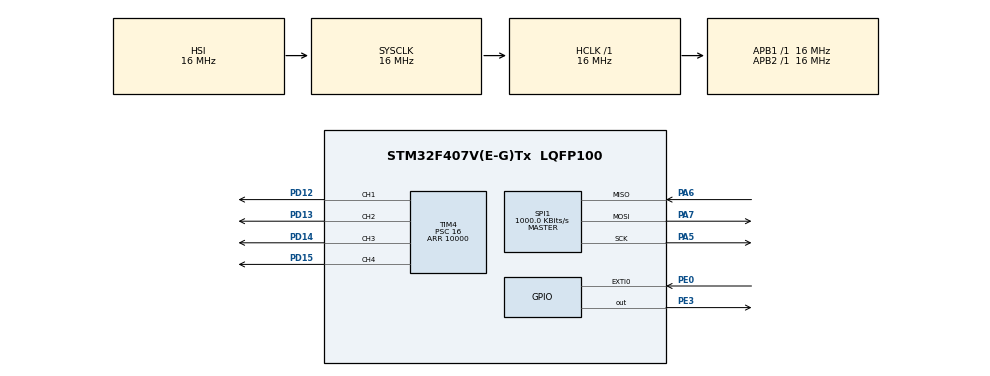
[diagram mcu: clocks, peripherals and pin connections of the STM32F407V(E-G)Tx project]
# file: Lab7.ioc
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Mcu.Family=STM32F4
Mcu.Name=STM32F407V(E-G)Tx
Mcu.Package=LQFP100
NVIC.EXTI0_IRQn=true\:0\:0\:false\:false\:true\:true\:true\:true
NVIC.PriorityGroup=NVIC_PRIORITYGROUP_4
PA5.Mode=Full_Duplex_Master
PA5.Signal=SPI1_SCK
PA6.Mode=Full_Duplex_Master
PA6.Signal=SPI1_MISO
PA7.Mode=Full_Duplex_Master
PA7.Signal=SPI1_MOSI
PD12.Signal=S_TIM4_CH1
PD13.Signal=S_TIM4_CH2
PD14.Signal=S_TIM4_CH3
PD15.Signal=S_TIM4_CH4
PE0.Signal=GPXTI0
PE3.Signal=GPIO_Output
ProjectManager.HeapSize=0x200
ProjectManager.StackSize=0x400
ProjectManager.TargetToolchain=STM32CubeIDE
RCC.AHBFreq_Value=16000000
RCC.APB1Freq_Value=16000000
RCC.APB2Freq_Value=16000000
RCC.CortexFreq_Value=16000000
RCC.HSE_VALUE=25000000
RCC.HSI_VALUE=16000000
RCC.LSE_VALUE=32768
RCC.SYSCLKFreq_VALUE=16000000
RCC.VCOOutputFreq_Value=192000000
SH.S_TIM4_CH1.0=TIM4_CH1,PWM Generation1 CH1
SH.S_TIM4_CH2.0=TIM4_CH2,PWM Generation2 CH2
SH.S_TIM4_CH3.0=TIM4_CH3,PWM Generation3 CH3
SH.S_TIM4_CH4.0=TIM4_CH4,PWM Generation4 CH4
SPI1.BaudRatePrescaler=SPI_BAUDRATEPRESCALER_16
SPI1.CalculateBaudRate=1000.0 KBits/s
SPI1.Direction=SPI_DIRECTION_2LINES
SPI1.Mode=SPI_MODE_MASTER
SPI1.VirtualType=VM_MASTER
TIM4.AutoReloadPreload=TIM_AUTORELOAD_PRELOAD_ENABLE
TIM4.Channel-PWM\ Generation1\ CH1=TIM_CHANNEL_1
TIM4.Channel-PWM\ Generation2\ CH2=TIM_CHANNEL_2
TIM4.Channel-PWM\ Generation3\ CH3=TIM_CHANNEL_3
TIM4.Channel-PWM\ Generation4\ CH4=TIM_CHANNEL_4
TIM4.Period=10000
TIM4.Prescaler=16
VP_TIM4_VS_ClockSourceINT.Mode=Internal
board=custom

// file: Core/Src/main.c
/* USER CODE BEGIN Header */
/**
  ******************************************************************************
  * @file           : main.c
  * @brief          : Main program body
  ******************************************************************************
  * @attention
  *
  * Copyright (c) 2023 STMicroelectronics.
  * All rights reserved.
  *
  * This software is licensed under terms that can be found in the LICENSE file
  * in the root directory of this software component.
  * If no LICENSE file comes with this software, it is provided AS-IS.
  *
  ******************************************************************************
  */
/* USER CODE END Header */
#include "main.h"

/* USER CODE BEGIN Includes */
#include <math.h>
#include <stdlib.h>
#include "MY_LIS3DSH.h"
/* USER CODE END Includes */

/* USER CODE BEGIN PD */
#define MAX_ACC ((float) 1000)
/* USER CODE END PD */

SPI_HandleTypeDef hspi1;

TIM_HandleTypeDef htim4;

/* USER CODE BEGIN PV */

uint8_t drdyFlag=0;
uint16_t leds = GPIO_PIN_12 | GPIO_PIN_13 | GPIO_PIN_14 | GPIO_PIN_15;
GPIO_TypeDef* leds_port = GPIOD;
LIS3DSH_DataScaled prev_acc_data;

/* USER CODE END PV */

void SystemClock_Config(void);
static void MX_GPIO_Init(void);
static void MX_SPI1_Init(void);
static void MX_TIM4_Init(void);

/* USER CODE BEGIN 0 */
void HAL_GPIO_EXTI_Callback(uint16_t GPIO_Pin)
{
  /* Prevent unused argument(s) compilation warning */
  UNUSED(GPIO_Pin);
  /* NOTE: This function Should not be modified, when the callback is needed,
           the HAL_GPIO_EXTI_Callback could be implemented in the user file
   */

  drdyFlag = 1;
}

static float hysteresis_diff(const float num1, const float num2)
{
	return (num1 > num2) ? (num1 - num2) : (num2 - num1);
}

static LIS3DSH_DataScaled *adjust_hysteresis(LIS3DSH_DataScaled * const acc_data, const uint32_t hysteresis)
{
	float diff_x = hysteresis_diff(acc_data->x, prev_acc_data.x);
	float diff_y = hysteresis_diff(acc_data->y, prev_acc_data.y);
	float diff_z = hysteresis_diff(acc_data->z, prev_acc_data.z);
	if(diff_x < hysteresis) acc_data->x = prev_acc_data.x;
	else prev_acc_data.x = acc_data->x;

	if(diff_y < hysteresis) acc_data->y = prev_acc_data.y;
	else prev_acc_data.y = acc_data->y;

	if(diff_z < hysteresis) acc_data->z = prev_acc_data.z;
	else prev_acc_data.z = acc_data->z;

	return acc_data;
}

// PWM mode for leds
static void on_accelerometer_data_pwm(LIS3DSH_DataScaled * const acc_data, const int init_offset)
{
	adjust_hysteresis(acc_data, init_offset);

	float x_ratio = (abs(acc_data->x) - init_offset) / MAX_ACC;
	float y_ratio = (abs(acc_data->y) - init_offset) / MAX_ACC;
	float x_ccr = htim4.Init.Period * x_ratio;
	float y_crr = htim4.Init.Period * y_ratio;

	if(acc_data->x > init_offset)
	{
		TIM4->CCR1 = 0;
		TIM4->CCR3 = x_ccr;
	}
	else if(acc_data->x < -init_offset)
	{
		TIM4->CCR1 = x_ccr;
		TIM4->CCR3 = 0;
	}
	else
	{
		TIM4->CCR1 = 0;
		TIM4->CCR3 = 0;
	}

	if(acc_data->y > init_offset)
	{
		TIM4->CCR4 = 0;
		TIM4->CCR2 = y_crr;
	}
	else if(acc_data->y < -init_offset)
	{
		TIM4->CCR4 = y_crr;
		TIM4->CCR2 = 0;
	}
	else
	{
		TIM4->CCR4 = 0;
		TIM4->CCR2 = 0;
	}

}

// Mode without PWM. Considering hysteresis leds can be only in the two states: turn on, turn off
static void on_accelerometer_data(LIS3DSH_DataScaled * const acc_data, const int init_offset)
{
	HAL_GPIO_WritePin(leds_port, leds, GPIO_PIN_RESET);

	adjust_hysteresis(acc_data, init_offset);

	if(acc_data->x > init_offset)
	{
		HAL_GPIO_WritePin(leds_port, GPIO_PIN_14 , GPIO_PIN_SET);
	}
	else if(acc_data->x < -init_offset)
	{
		HAL_GPIO_WritePin(leds_port, GPIO_PIN_12, GPIO_PIN_SET);
	}

	if(acc_data->y > init_offset)
	{
		HAL_GPIO_WritePin(leds_port, GPIO_PIN_13, GPIO_PIN_SET);
	}
	else if(acc_data->y < -init_offset)
	{
		HAL_GPIO_WritePin(leds_port, GPIO_PIN_15, GPIO_PIN_SET);
	}
}
/* USER CODE END 0 */

int main(void)
{

  /* MCU Configuration--------------------------------------------------------*/

  /* Reset of all peripherals, Initializes the Flash interface and the Systick. */
  HAL_Init();

  /* Configure the system clock */
  SystemClock_Config();

  /* Initialize all configured peripherals */
  MX_GPIO_Init();
  MX_SPI1_Init();
  MX_TIM4_Init();
  /* USER CODE BEGIN 2 */
  HAL_TIM_PWM_Start(&htim4, TIM_CHANNEL_4);
  HAL_TIM_PWM_Start(&htim4, TIM_CHANNEL_3);
  HAL_TIM_PWM_Start(&htim4, TIM_CHANNEL_2);
  HAL_TIM_PWM_Start(&htim4, TIM_CHANNEL_1);
//  TIM4->CCR1 = 0;
//  TIM4->CCR2 = 0;
//  TIM4->CCR3 = 0;
//  TIM4->CCR4 = 0;

  LIS3DSH_InitTypeDef myAccConfigDef;

  myAccConfigDef.dataRate = LIS3DSH_DATARATE_25;
  myAccConfigDef.fullScale = LIS3DSH_FULLSCALE_4;
  myAccConfigDef.antiAliasingBW = LIS3DSH_FILTER_BW_50;
  myAccConfigDef.enableAxes = LIS3DSH_XYZ_ENABLE;
  myAccConfigDef.interruptEnable = true;
  LIS3DSH_Init(&hspi1, &myAccConfigDef);

  LIS3DSH_X_calibrate(-1000.0, 980.0);
  LIS3DSH_Y_calibrate(-1020.0, 1040.0);
  LIS3DSH_Z_calibrate(-920.0, 1040.0);
  /* USER CODE END 2 */

  /* Infinite loop */
  /* USER CODE BEGIN WHILE */
  while (1)
  {
	  if(drdyFlag == 1)
	  {
		  LIS3DSH_DataScaled acc_data = LIS3DSH_GetDataScaled();
		  on_accelerometer_data_pwm(&acc_data, 50);
//		  on_accelerometer_data(&acc_data, 100);
		  drdyFlag = 0;
	  }
    /* USER CODE END WHILE */

  }
}

void SystemClock_Config(void)
{
  RCC_OscInitTypeDef RCC_OscInitStruct = {0};
  RCC_ClkInitTypeDef RCC_ClkInitStruct = {0};

  /** Configure the main internal regulator output voltage
  */
  __HAL_RCC_PWR_CLK_ENABLE();
  __HAL_PWR_VOLTAGESCALING_CONFIG(PWR_REGULATOR_VOLTAGE_SCALE1);

  /** Initializes the RCC Oscillators according to the specified parameters
  * in the RCC_OscInitTypeDef structure.
  */
  RCC_OscInitStruct.OscillatorType = RCC_OSCILLATORTYPE_HSI;
  RCC_OscInitStruct.HSIState = RCC_HSI_ON;
  RCC_OscInitStruct.HSICalibrationValue = RCC_HSICALIBRATION_DEFAULT;
  RCC_OscInitStruct.PLL.PLLState = RCC_PLL_NONE;
  if (HAL_RCC_OscConfig(&RCC_OscInitStruct) != HAL_OK)
  {
    Error_Handler();
  }

  /** Initializes the CPU, AHB and APB buses clocks
  */
  RCC_ClkInitStruct.ClockType = RCC_CLOCKTYPE_HCLK|RCC_CLOCKTYPE_SYSCLK
                              |RCC_CLOCKTYPE_PCLK1|RCC_CLOCKTYPE_PCLK2;
  RCC_ClkInitStruct.SYSCLKSource = RCC_SYSCLKSOURCE_HSI;
  RCC_ClkInitStruct.AHBCLKDivider = RCC_SYSCLK_DIV1;
  RCC_ClkInitStruct.APB1CLKDivider = RCC_HCLK_DIV1;
  RCC_ClkInitStruct.APB2CLKDivider = RCC_HCLK_DIV1;

  if (HAL_RCC_ClockConfig(&RCC_ClkInitStruct, FLASH_LATENCY_0) != HAL_OK)
  {
    Error_Handler();
  }
}

static void MX_SPI1_Init(void)
{

  /* SPI1 parameter configuration*/
  hspi1.Instance = SPI1;
  hspi1.Init.Mode = SPI_MODE_MASTER;
  hspi1.Init.Direction = SPI_DIRECTION_2LINES;
  hspi1.Init.DataSize = SPI_DATASIZE_8BIT;
  hspi1.Init.CLKPolarity = SPI_POLARITY_LOW;
  hspi1.Init.CLKPhase = SPI_PHASE_1EDGE;
  hspi1.Init.NSS = SPI_NSS_SOFT;
  hspi1.Init.BaudRatePrescaler = SPI_BAUDRATEPRESCALER_16;
  hspi1.Init.FirstBit = SPI_FIRSTBIT_MSB;
  hspi1.Init.TIMode = SPI_TIMODE_DISABLE;
  hspi1.Init.CRCCalculation = SPI_CRCCALCULATION_DISABLE;
  hspi1.Init.CRCPolynomial = 10;
  if (HAL_SPI_Init(&hspi1) != HAL_OK)
  {
    Error_Handler();
  }

}

static void MX_TIM4_Init(void)
{

  TIM_ClockConfigTypeDef sClockSourceConfig = {0};
  TIM_MasterConfigTypeDef sMasterConfig = {0};
  TIM_OC_InitTypeDef sConfigOC = {0};

  htim4.Instance = TIM4;
  htim4.Init.Prescaler = 16;
  htim4.Init.CounterMode = TIM_COUNTERMODE_UP;
  htim4.Init.Period = 10000;
  htim4.Init.ClockDivision = TIM_CLOCKDIVISION_DIV1;
  htim4.Init.AutoReloadPreload = TIM_AUTORELOAD_PRELOAD_ENABLE;
  if (HAL_TIM_Base_Init(&htim4) != HAL_OK)
  {
    Error_Handler();
  }
  sClockSourceConfig.ClockSource = TIM_CLOCKSOURCE_INTERNAL;
  if (HAL_TIM_ConfigClockSource(&htim4, &sClockSourceConfig) != HAL_OK)
  {
    Error_Handler();
  }
  if (HAL_TIM_PWM_Init(&htim4) != HAL_OK)
  {
    Error_Handler();
  }
  sMasterConfig.MasterOutputTrigger = TIM_TRGO_RESET;
  sMasterConfig.MasterSlaveMode = TIM_MASTERSLAVEMODE_DISABLE;
  if (HAL_TIMEx_MasterConfigSynchronization(&htim4, &sMasterConfig) != HAL_OK)
  {
    Error_Handler();
  }
  sConfigOC.OCMode = TIM_OCMODE_PWM1;
  sConfigOC.Pulse = 0;
  sConfigOC.OCPolarity = TIM_OCPOLARITY_HIGH;
  sConfigOC.OCFastMode = TIM_OCFAST_DISABLE;
  if (HAL_TIM_PWM_ConfigChannel(&htim4, &sConfigOC, TIM_CHANNEL_1) != HAL_OK)
  {
    Error_Handler();
  }
  if (HAL_TIM_PWM_ConfigChannel(&htim4, &sConfigOC, TIM_CHANNEL_2) != HAL_OK)
  {
    Error_Handler();
  }
  if (HAL_TIM_PWM_ConfigChannel(&htim4, &sConfigOC, TIM_CHANNEL_3) != HAL_OK)
  {
    Error_Handler();
  }
  if (HAL_TIM_PWM_ConfigChannel(&htim4, &sConfigOC, TIM_CHANNEL_4) != HAL_OK)
  {
    Error_Handler();
  }
  HAL_TIM_MspPostInit(&htim4);

}

static void MX_GPIO_Init(void)
{
  GPIO_InitTypeDef GPIO_InitStruct = {0};

  /* GPIO Ports Clock Enable */
  __HAL_RCC_GPIOE_CLK_ENABLE();
  __HAL_RCC_GPIOA_CLK_ENABLE();
  __HAL_RCC_GPIOD_CLK_ENABLE();

  /*Configure GPIO pin Output Level */
  HAL_GPIO_WritePin(GPIOE, GPIO_PIN_3, GPIO_PIN_RESET);

  /*Configure GPIO pin : PE3 */
  GPIO_InitStruct.Pin = GPIO_PIN_3;
  GPIO_InitStruct.Mode = GPIO_MODE_OUTPUT_PP;
  GPIO_InitStruct.Pull = GPIO_NOPULL;
  GPIO_InitStruct.Speed = GPIO_SPEED_FREQ_LOW;
  HAL_GPIO_Init(GPIOE, &GPIO_InitStruct);

  /*Configure GPIO pin : PE0 */
  GPIO_InitStruct.Pin = GPIO_PIN_0;
  GPIO_InitStruct.Mode = GPIO_MODE_IT_RISING;
  GPIO_InitStruct.Pull = GPIO_NOPULL;
  HAL_GPIO_Init(GPIOE, &GPIO_InitStruct);

  /* EXTI interrupt init*/
  HAL_NVIC_SetPriority(EXTI0_IRQn, 0, 0);
  HAL_NVIC_EnableIRQ(EXTI0_IRQn);

}

void Error_Handler(void)
{
  __disable_irq();
  while (1)
  {
  }
}
